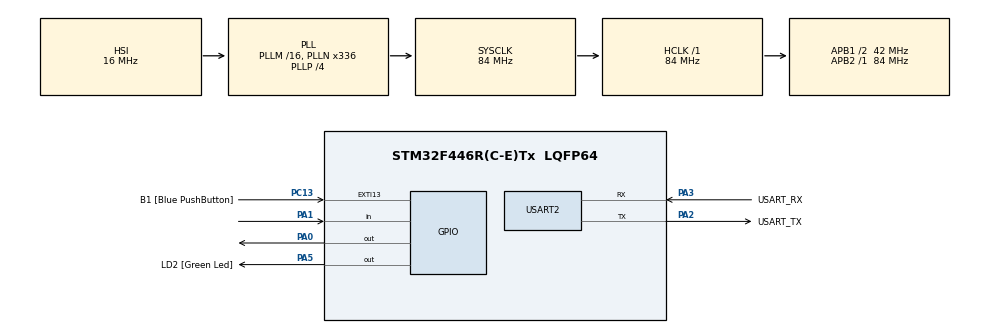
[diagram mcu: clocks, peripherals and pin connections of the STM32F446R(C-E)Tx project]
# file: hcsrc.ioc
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Mcu.Family=STM32F4
Mcu.Name=STM32F446R(C-E)Tx
Mcu.Package=LQFP64
NVIC.PriorityGroup=NVIC_PRIORITYGROUP_0
PA0-WKUP.Signal=GPIO_Output
PA1.Signal=GPIO_Input
PA13.GPIO_Label=TMS
PA13.Mode=Serial_Wire
PA13.Signal=SYS_JTMS-SWDIO
PA14.GPIO_Label=TCK
PA14.Mode=Serial_Wire
PA14.Signal=SYS_JTCK-SWCLK
PA2.GPIO_Label=USART_TX
PA2.Mode=Asynchronous
PA2.Signal=USART2_TX
PA3.GPIO_Label=USART_RX
PA3.Mode=Asynchronous
PA3.Signal=USART2_RX
PA5.GPIO_Label=LD2 [Green Led]
PA5.Signal=GPIO_Output
PB3.GPIO_Label=SWO
PB3.Signal=SYS_JTDO-SWO
PC13.GPIO_Label=B1 [Blue PushButton]
PC13.GPIO_ModeDefaultEXTI=GPIO_MODE_IT_FALLING
PC13.Signal=GPXTI13
PC14-OSC32_IN.Mode=LSE-External-Oscillator
PC14-OSC32_IN.Signal=RCC_OSC32_IN
PC15-OSC32_OUT.Mode=LSE-External-Oscillator
PC15-OSC32_OUT.Signal=RCC_OSC32_OUT
PH0-OSC_IN.Mode=HSE-External-Oscillator
PH0-OSC_IN.Signal=RCC_OSC_IN
PH1-OSC_OUT.Mode=HSE-External-Oscillator
PH1-OSC_OUT.Signal=RCC_OSC_OUT
ProjectManager.HeapSize=0x200
ProjectManager.StackSize=0x400
ProjectManager.TargetToolchain=STM32CubeIDE
RCC.48MHZClocksFreq_Value=84000000
RCC.AHBFreq_Value=84000000
RCC.APB1CLKDivider=RCC_HCLK_DIV2
RCC.APB1Freq_Value=42000000
RCC.APB1TimFreq_Value=84000000
RCC.APB2Freq_Value=84000000
RCC.APB2TimFreq_Value=84000000
RCC.CortexFreq_Value=84000000
RCC.FLatency-AdvancedSettings=FLASH_LATENCY_2
RCC.HCLKFreq_Value=84000000
RCC.HSE_VALUE=8000000
RCC.HSI_VALUE=16000000
RCC.PLLN=336
RCC.PLLP=RCC_PLLP_DIV4
RCC.SYSCLKFreq_VALUE=84000000
RCC.SYSCLKSource=RCC_SYSCLKSOURCE_PLLCLK
RCC.USBFreq_Value=168000000
RCC.VCOOutputFreq_Value=336000000
TIM2.Period=0xFFFF 
TIM2.Prescaler=83
USART2.VirtualMode=VM_ASYNC
VP_TIM2_VS_ClockSourceINT.Mode=Internal
board=NUCLEO-F446RE

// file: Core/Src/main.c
/* USER CODE BEGIN Header */
/**
  ******************************************************************************
  * @file           : main.c
  * @brief          : Main program body
  ******************************************************************************
  * @attention
  *
  * Copyright (c) 2026 STMicroelectronics.
  * All rights reserved.
  *
  * This software is licensed under terms that can be found in the LICENSE file
  * in the root directory of this software component.
  * If no LICENSE file comes with this software, it is provided AS-IS.
  *
  ******************************************************************************
  */
/* USER CODE END Header */
#include "main.h"

/* USER CODE BEGIN Includes */
#include "hcsr04.h"
#include <stdio.h>
/* USER CODE END Includes */

TIM_HandleTypeDef htim2;

UART_HandleTypeDef huart2;

void SystemClock_Config(void);
static void MX_GPIO_Init(void);
static void MX_TIM2_Init(void);
static void MX_USART2_UART_Init(void);

/* USER CODE BEGIN 0 */
int __io_putchar(int ch)
{
    HAL_UART_Transmit(&huart2, (uint8_t *)&ch, 1, HAL_MAX_DELAY); //serial monitor
    return ch;
}
/* USER CODE END 0 */

int main(void)
{

  /* MCU Configuration--------------------------------------------------------*/

  /* Reset of all peripherals, Initializes the Flash interface and the Systick. */
  HAL_Init();

  /* Configure the system clock */
  SystemClock_Config();

  /* Initialize all configured peripherals */
  MX_GPIO_Init();
  MX_TIM2_Init();
  MX_USART2_UART_Init();
  /* USER CODE BEGIN 2 */
  HCSR04_Init();     /* Start the µs timer */

  float    distance_cm;
  HCSR04_Status status;
  int filter_size = 10;
  float dist_arr[10] = {0,0,0,0,0,0,0,0,0,0};
//  float dist_arr[6] = {0,0,0,0,0,0};
  float distance_filt;

  void filter(float* arr, float new){
		  distance_filt = new;

		  for (int i = filter_size-1; i>0;i--){
			  arr[i]= arr[i-1];
			  distance_filt += arr[i-1];
		  }
		  arr[0]=new;
		  //printf("%.1f ; %.1f ; %.1f  \r\n",arr[0], arr[1], arr[2]);
		  distance_filt/=filter_size;

 };
  /* USER CODE END 2 */

  /* Infinite loop */
  while (1)
  {

    /* USER CODE BEGIN 3 */
	  status = HCSR04_Read(&distance_cm);  //assign pointer to distance

	  if (status == HCSR04_OK)
	  {
		  filter (dist_arr, distance_cm);
		  printf("Distance: %.1f cm, filtered: %.1f  \r\n", distance_cm,distance_filt);
	  }
	  else
	  {
		  printf("%f\r\n",0);
//		  printf("Sensor timeout — object out of range or missing\r\n");
	  }

	  HAL_Delay(200);   /* Measure ~2 times per second */
  }
  /* USER CODE END 3 */
}

void SystemClock_Config(void)
{
  RCC_OscInitTypeDef RCC_OscInitStruct = {0};
  RCC_ClkInitTypeDef RCC_ClkInitStruct = {0};

  /** Configure the main internal regulator output voltage
  */
  __HAL_RCC_PWR_CLK_ENABLE();
  __HAL_PWR_VOLTAGESCALING_CONFIG(PWR_REGULATOR_VOLTAGE_SCALE3);

  /** Initializes the RCC Oscillators according to the specified parameters
  * in the RCC_OscInitTypeDef structure.
  */
  RCC_OscInitStruct.OscillatorType = RCC_OSCILLATORTYPE_HSI;
  RCC_OscInitStruct.HSIState = RCC_HSI_ON;
  RCC_OscInitStruct.HSICalibrationValue = RCC_HSICALIBRATION_DEFAULT;
  RCC_OscInitStruct.PLL.PLLState = RCC_PLL_ON;
  RCC_OscInitStruct.PLL.PLLSource = RCC_PLLSOURCE_HSI;
  RCC_OscInitStruct.PLL.PLLM = 16;
  RCC_OscInitStruct.PLL.PLLN = 336;
  RCC_OscInitStruct.PLL.PLLP = RCC_PLLP_DIV4;
  RCC_OscInitStruct.PLL.PLLQ = 2;
  RCC_OscInitStruct.PLL.PLLR = 2;
  if (HAL_RCC_OscConfig(&RCC_OscInitStruct) != HAL_OK)
  {
    Error_Handler();
  }

  /** Initializes the CPU, AHB and APB buses clocks
  */
  RCC_ClkInitStruct.ClockType = RCC_CLOCKTYPE_HCLK|RCC_CLOCKTYPE_SYSCLK
                              |RCC_CLOCKTYPE_PCLK1|RCC_CLOCKTYPE_PCLK2;
  RCC_ClkInitStruct.SYSCLKSource = RCC_SYSCLKSOURCE_PLLCLK;
  RCC_ClkInitStruct.AHBCLKDivider = RCC_SYSCLK_DIV1;
  RCC_ClkInitStruct.APB1CLKDivider = RCC_HCLK_DIV2;
  RCC_ClkInitStruct.APB2CLKDivider = RCC_HCLK_DIV1;

  if (HAL_RCC_ClockConfig(&RCC_ClkInitStruct, FLASH_LATENCY_2) != HAL_OK)
  {
    Error_Handler();
  }
}

static void MX_TIM2_Init(void)
{

  TIM_ClockConfigTypeDef sClockSourceConfig = {0};
  TIM_MasterConfigTypeDef sMasterConfig = {0};

  htim2.Instance = TIM2;
  htim2.Init.Prescaler = 83;
  htim2.Init.CounterMode = TIM_COUNTERMODE_UP;
  htim2.Init.Period = 0xFFFF ;
  htim2.Init.ClockDivision = TIM_CLOCKDIVISION_DIV1;
  htim2.Init.AutoReloadPreload = TIM_AUTORELOAD_PRELOAD_DISABLE;
  if (HAL_TIM_Base_Init(&htim2) != HAL_OK)
  {
    Error_Handler();
  }
  sClockSourceConfig.ClockSource = TIM_CLOCKSOURCE_INTERNAL;
  if (HAL_TIM_ConfigClockSource(&htim2, &sClockSourceConfig) != HAL_OK)
  {
    Error_Handler();
  }
  sMasterConfig.MasterOutputTrigger = TIM_TRGO_RESET;
  sMasterConfig.MasterSlaveMode = TIM_MASTERSLAVEMODE_DISABLE;
  if (HAL_TIMEx_MasterConfigSynchronization(&htim2, &sMasterConfig) != HAL_OK)
  {
    Error_Handler();
  }

}

static void MX_USART2_UART_Init(void)
{

  huart2.Instance = USART2;
  huart2.Init.BaudRate = 115200;
  huart2.Init.WordLength = UART_WORDLENGTH_8B;
  huart2.Init.StopBits = UART_STOPBITS_1;
  huart2.Init.Parity = UART_PARITY_NONE;
  huart2.Init.Mode = UART_MODE_TX_RX;
  huart2.Init.HwFlowCtl = UART_HWCONTROL_NONE;
  huart2.Init.OverSampling = UART_OVERSAMPLING_16;
  if (HAL_UART_Init(&huart2) != HAL_OK)
  {
    Error_Handler();
  }

}

static void MX_GPIO_Init(void)
{
  GPIO_InitTypeDef GPIO_InitStruct = {0};

  /* GPIO Ports Clock Enable */
  __HAL_RCC_GPIOC_CLK_ENABLE();
  __HAL_RCC_GPIOH_CLK_ENABLE();
  __HAL_RCC_GPIOA_CLK_ENABLE();
  __HAL_RCC_GPIOB_CLK_ENABLE();

  /*Configure GPIO pin Output Level */
  HAL_GPIO_WritePin(GPIOA, GPIO_PIN_0|LD2_Pin, GPIO_PIN_RESET);

  /*Configure GPIO pin : B1_Pin */
  GPIO_InitStruct.Pin = B1_Pin;
  GPIO_InitStruct.Mode = GPIO_MODE_IT_FALLING;
  GPIO_InitStruct.Pull = GPIO_NOPULL;
  HAL_GPIO_Init(B1_GPIO_Port, &GPIO_InitStruct);

  /*Configure GPIO pins : PA0 LD2_Pin */
  GPIO_InitStruct.Pin = GPIO_PIN_0|LD2_Pin;
  GPIO_InitStruct.Mode = GPIO_MODE_OUTPUT_PP;
  GPIO_InitStruct.Pull = GPIO_NOPULL;
  GPIO_InitStruct.Speed = GPIO_SPEED_FREQ_LOW;
  HAL_GPIO_Init(GPIOA, &GPIO_InitStruct);

  /*Configure GPIO pin : PA1 */
  GPIO_InitStruct.Pin = GPIO_PIN_1;
  GPIO_InitStruct.Mode = GPIO_MODE_INPUT;
  GPIO_InitStruct.Pull = GPIO_NOPULL;
  HAL_GPIO_Init(GPIOA, &GPIO_InitStruct);

}

void Error_Handler(void)
{
  __disable_irq();
  while (1)
  {
  }
}
